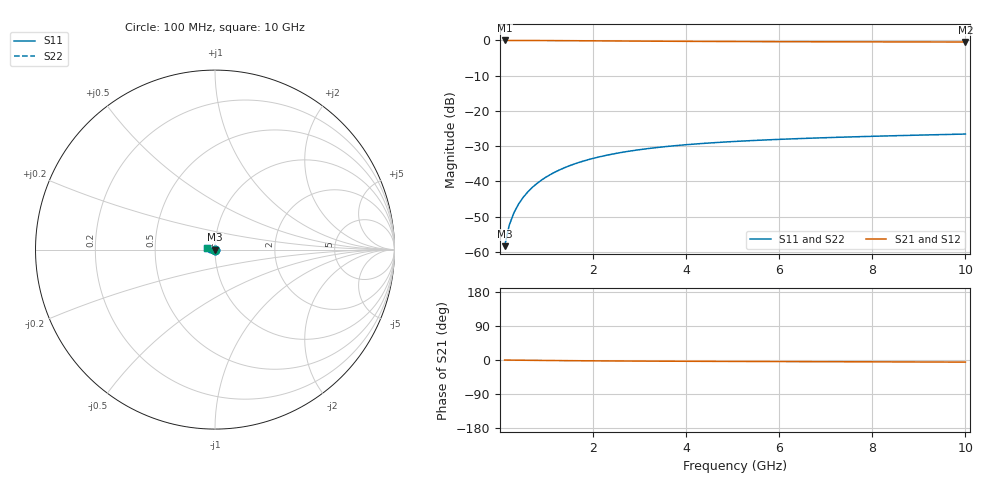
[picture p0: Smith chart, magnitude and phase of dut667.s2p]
! Touchstone file exported from HFSS 2024.1.0
!  File:  C:/UserFiles/LocalFiles/RDL_TSV_Batchsim/temp_TSV1_667_1779793715.aedt
!  Generated:  07:15:05 PM May 26, 2026
!  Design:  TSV1
!  Project:  temp_TSV1_667_1779793715
!  Setup:  Setup1
!  Solution:  Sweep
! Variables:
!  dtsv = 9.35um
!  hbump = 3um
!  htsv = 86.54um
!  lrdl = 252.1521522um
!  p = 40
!  p1 = 51.1um
!  t = 500um
!  trdl = 3um
!  wrdl = 24.89489489um
# GHz S MA R 50.000000
! Terminal data exported
! Port[1] = TSV22_T1
! Port[2] = TSV22_T2
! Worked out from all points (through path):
!   100 points, 100 MHz to 10 GHz, reference 50 ohm
!   highest |S21| = 0.00 dB at 100 MHz (marker M1); lowest = -0.4 dB at 10 GHz (marker M2)
!   lowest |S11| = -58.4 dB at 100 MHz (marker M3), VSWR 1.00, Z = 50 - j0.12 ohm
!   |S11| at or under -10 dB: start of sweep to end of sweep
!   |S22| runs from -58.4 to -26.6 dB; largest |S21 - S12| = 9.9e-15
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0.1  0.001203 -83.5  0.9998 -0.1  0.9998 -0.1  0.001203 -83.5
! Gamma 0 0 0 0
! Port Impedance 50 0 50 0
0.2  0.00239 -89.4  0.9997 -0.3  0.9997 -0.3  0.00239 -89.4
0.3  0.00358 -92.6  0.9994 -0.4  0.9994 -0.4  0.00358 -92.6
0.4  0.004766 -95.1  0.9992 -0.5  0.9992 -0.5  0.004766 -95.1
0.5  0.005944 -97.4  0.9988 -0.6  0.9988 -0.6  0.005944 -97.4
0.6  0.007109 -99.5  0.9984 -0.8  0.9984 -0.8  0.007109 -99.5
0.7  0.008261 -101.5  0.9979 -0.9  0.9979 -0.9  0.008261 -101.5
0.8  0.009395 -103.5  0.9973 -1.0  0.9973 -1.0  0.009395 -103.5
0.9  0.01051 -105.4  0.9967 -1.1  0.9967 -1.1  0.01051 -105.4
1.1  0.01268 -109.1  0.9954 -1.3  0.9954 -1.3  0.01268 -109.1
1.4  0.01575 -114.4  0.993 -1.7  0.993 -1.7  0.01575 -114.4
1.6  0.01767 -117.8  0.9913 -1.8  0.9913 -1.8  0.01767 -117.8
1.8  0.01948 -121.0  0.9895 -2.0  0.9895 -2.0  0.01948 -121.0
2.1  0.02199 -125.6  0.9868 -2.3  0.9868 -2.3  0.02199 -125.6
2.5  0.02498 -131.3  0.9831 -2.6  0.9831 -2.6  0.02498 -131.4
2.9  0.02758 -136.6  0.9796 -2.8  0.9796 -2.8  0.02758 -136.6
3.4  0.03035 -142.6  0.9755 -3.1  0.9755 -3.1  0.03035 -142.6
4.2  0.03392 -150.9  0.9698 -3.5  0.9698 -3.5  0.03392 -150.9
5.1  0.03701 -158.9  0.9647 -3.8  0.9647 -3.8  0.03701 -158.9
6.7  0.04106 -170.5  0.9583 -4.4  0.9583 -4.4  0.04106 -170.5
8.4  0.04431 179.6  0.9538 -5.0  0.9538 -5.0  0.04431 179.6
10  0.04693 171.8  0.9509 -5.5  0.9509 -5.5  0.04693 171.8
